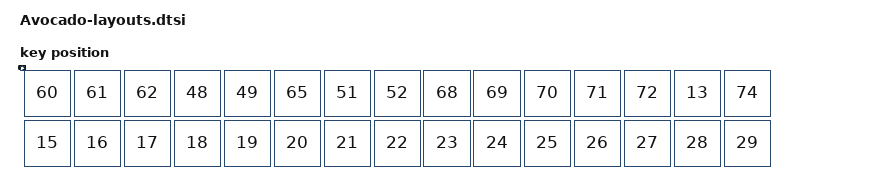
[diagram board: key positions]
#include <physical_layouts.dtsi>

/ {
    physical_layout0: physical_layout_0 {
        compatible = "zmk,physical-layout";
        display-name = "Default Layout";
        kscan = <&default_kscan>;
        transform = <&transform>;

        keys =
              //                    w    h    x      y     rot    rx    ry
              // Row 0 
              <&key_physical_attrs 100  100   0      0       0     0     0>
            , <&key_physical_attrs 100  100  100     0       0     0     0>
            , <&key_physical_attrs 100  100  200     0       0     0     0>
            , <&key_physical_attrs 100  100  300     0       0     0     0>
            , <&key_physical_attrs 100  100  400     0       0     0     0>
            , <&key_physical_attrs 100  100  500     0       0     0     0>
            , <&key_physical_attrs 100  100  600     0       0     0     0>
            , <&key_physical_attrs 100  100  700     0       0     0     0>
            , <&key_physical_attrs 100  100  800     0       0     0     0>
            , <&key_physical_attrs 100  100  900     0       0     0     0>
            , <&key_physical_attrs 100  100  1000    0       0     0     0>
            , <&key_physical_attrs 100  100  1100    0       0     0     0>
            , <&key_physical_attrs 100  100  1200    0       0     0     0>
            , <&key_physical_attrs 100  100  1300    0       0     0     0>
            , <&key_physical_attrs 100  100  1400    0       0     0     0>

              // Row 1
            , <&key_physical_attrs 100  100   0      100       0     0     0>
            , <&key_physical_attrs 100  100  100     100       0     0     0>
            , <&key_physical_attrs 100  100  200     100       0     0     0>
            , <&key_physical_attrs 100  100  300     100       0     0     0>
            , <&key_physical_attrs 100  100  400     100       0     0     0>
            , <&key_physical_attrs 100  100  500     100       0     0     0>
            , <&key_physical_attrs 100  100  600     100       0     0     0>
            , <&key_physical_attrs 100  100  700     100       0     0     0>
            , <&key_physical_attrs 100  100  800     100       0     0     0>
            , <&key_physical_attrs 100  100  900     100       0     0     0>
            , <&key_physical_attrs 100  100  1000    100       0     0     0>
            , <&key_physical_attrs 100  100  1100    100       0     0     0>
            , <&key_physical_attrs 100  100  1200    100       0     0     0>
            , <&key_physical_attrs 100  100  1300    100       0     0     0>
            , <&key_physical_attrs 100  100  1400    100       0     0     0>

            // Row 2
            , <&key_physical_attrs 100  100   0      0       0     0     0>
            , <&key_physical_attrs 100  100  100     0       0     0     0>
            , <&key_physical_attrs 100  100  200     0       0     0     0>
            , <&key_physical_attrs 100  100  300     0       0     0     0>
            , <&key_physical_attrs 100  100  400     0       0     0     0>
            , <&key_physical_attrs 100  100  500     0       0     0     0>
            , <&key_physical_attrs 100  100  600     0       0     0     0>
            , <&key_physical_attrs 100  100  700     0       0     0     0>
            , <&key_physical_attrs 100  100  800     0       0     0     0>
            , <&key_physical_attrs 100  100  900     0       0     0     0>
            , <&key_physical_attrs 100  100  1000    0       0     0     0>
            , <&key_physical_attrs 100  100  1100    0       0     0     0>
            , <&key_physical_attrs 100  100  1200    0       0     0     0>
            , <&key_physical_attrs 0    0    0       0       0     0     0> //Place Holder
            , <&key_physical_attrs 100  100  1400    0       0     0     0>

            // Row 3
            , <&key_physical_attrs 100  100   0      0       0     0     0>
            , <&key_physical_attrs 100  100  100     0       0     0     0>
            , <&key_physical_attrs 100  100  200     0       0     0     0>
            , <&key_physical_attrs 100  100  300     0       0     0     0>
            , <&key_physical_attrs 100  100  400     0       0     0     0>
            , <&key_physical_attrs 100  100  500     0       0     0     0>
            , <&key_physical_attrs 100  100  600     0       0     0     0>
            , <&key_physical_attrs 100  100  700     0       0     0     0>
            , <&key_physical_attrs 100  100  800     0       0     0     0>
            , <&key_physical_attrs 100  100  900     0       0     0     0>
            , <&key_physical_attrs 100  100  1000    0       0     0     0>
            , <&key_physical_attrs 100  100  1100    0       0     0     0>
            , <&key_physical_attrs 100  100  1200    0       0     0     0>
            , <&key_physical_attrs 0    0    0       0       0     0     0> //Place Holder
            , <&key_physical_attrs 100  100  1400    0       0     0     0>
            
            // Row 4
            , <&key_physical_attrs 100  100   0      0       0     0     0>
            , <&key_physical_attrs 100  100  100     0       0     0     0>
            , <&key_physical_attrs 100  100  200     0       0     0     0>
            , <&key_physical_attrs 0    0    0       0       0     0     0> //Place Holder
            , <&key_physical_attrs 0    0    0       0       0     0     0> //Place Holder
            , <&key_physical_attrs 100  100  500     0       0     0     0>
            , <&key_physical_attrs 0    0    0       0       0     0     0> //Place Holder
            , <&key_physical_attrs 0    0    0       0       0     0     0> //Place Holder
            , <&key_physical_attrs 100  100  800     0       0     0     0>
            , <&key_physical_attrs 100  100  900     0       0     0     0>
            , <&key_physical_attrs 100  100  1000    0       0     0     0>
            , <&key_physical_attrs 100  100  1100    0       0     0     0>
            , <&key_physical_attrs 100  100  1200    0       0     0     0>
            , <&key_physical_attrs 0    0    0       0       0     0     0> //Place Holder
            , <&key_physical_attrs 100  100  1400    0       0     0     0>
            ;
    };
};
